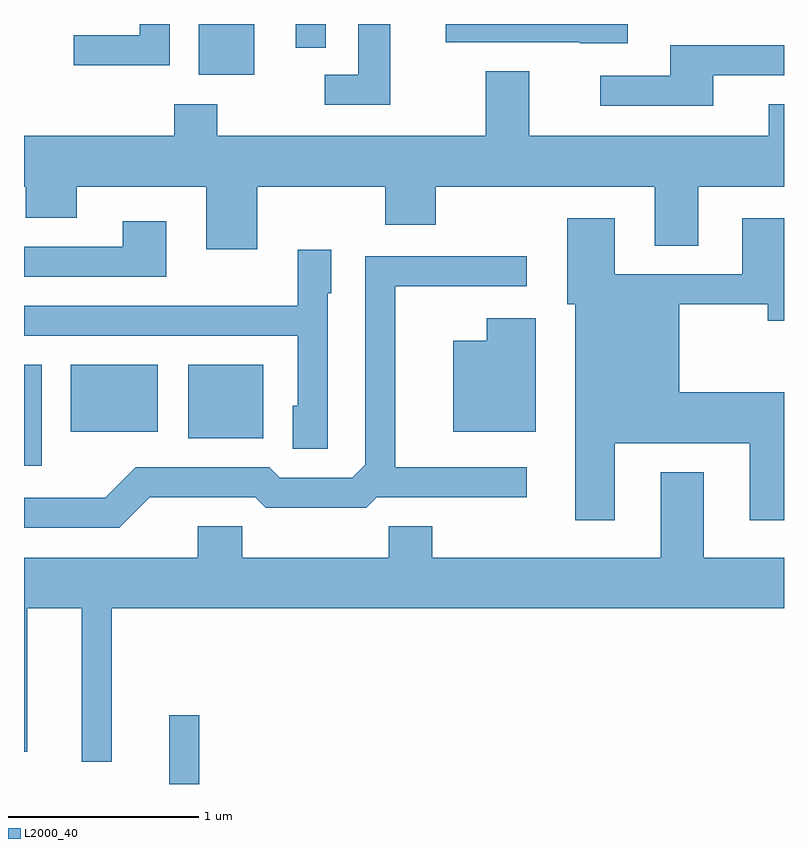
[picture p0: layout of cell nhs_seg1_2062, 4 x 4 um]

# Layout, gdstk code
import gdstk
lib = gdstk.Library(unit=1e-6, precision=1e-09)
def R(c, l, rs):  # rectangles x0, y0, x1, y1
    for r in rs: c.add(gdstk.rectangle(r[:2], r[2:], *l))
def P(c, l, *ps):  # polygons
    for p in ps: c.add(gdstk.Polygon(p, *l))
L2000_40 = (2000, 40)

nhs_seg1_2062 = lib.new_cell('nhs_seg1_2062')
R(nhs_seg1_2062, L2000_40, [(248.376,949.712,248.534,950.073), (247.611,951.388,247.704,951.919), (248.476,951.531,248.869,951.919), (247.856,951.566,248.314,951.919), (248.531,953.446,248.824,953.712), (249.041,953.588,249.199,953.712)])
P(nhs_seg1_2062, L2000_40, [(250.789,953.712),(249.831,953.712),(249.831,953.616),(250.535,953.616),(250.535,953.611),(250.789,953.611)],
  [(249.539,953.712),(249.371,953.712),(249.371,953.444),(249.193,953.444),(249.193,953.286),(249.539,953.286)],
  [(248.379,953.712),(248.221,953.712),(248.221,953.654),(247.873,953.654),(247.873,953.496),(248.379,953.496)],
  [(251.239,953.441),(251.611,953.441),(251.611,953.599),(251.011,953.599),(251.011,953.439),(250.643,953.439),(250.643,953.281),(251.239,953.281)],
  [(248.839,952.856),(249.511,952.856),(249.511,952.656),(249.779,952.656),(249.779,952.856),(250.931,952.856),(250.931,952.546),(251.159,952.546),(251.159,952.856),(251.611,952.856),(251.611,953.289),(251.531,953.289),(251.531,953.124),(250.269,953.124),(250.269,953.464),(250.041,953.464),(250.041,953.124),(248.629,953.124),(248.629,953.289),(248.401,953.289),(248.401,953.124),(247.611,953.124),(247.611,952.856),(247.621,952.856),(247.621,952.691),(247.889,952.691),(247.889,952.856),(248.571,952.856),(248.571,952.526),(248.839,952.526)],
  [(250.719,951.506),(251.431,951.506),(251.431,951.101),(251.611,951.101),(251.611,951.774),(251.059,951.774),(251.059,952.236),(251.526,952.236),(251.526,952.151),(251.611,952.151),(251.611,952.689),(251.391,952.689),(251.391,952.394),(250.719,952.394),(250.719,952.689),(250.471,952.689),(250.471,952.236),(250.511,952.236),(250.511,951.101),(250.719,951.101)],
  [(248.359,952.674),(248.131,952.674),(248.131,952.539),(247.611,952.539),(247.611,952.381),(248.359,952.381)],
  [(249.209,952.296),(249.229,952.296),(249.229,952.524),(249.051,952.524),(249.051,952.229),(247.611,952.229),(247.611,952.071),(249.051,952.071),(249.051,951.704),(249.026,951.704),(249.026,951.476),(249.209,951.476)],
  [(248.272,951.221),(248.829,951.221),(248.884,951.166),(249.412,951.166),(249.467,951.221),(250.258,951.221),(250.258,951.379),(249.564,951.379),(249.564,952.331),(250.258,952.331),(250.258,952.489),(249.406,952.489),(249.406,951.392),(249.339,951.324),(248.957,951.324),(248.902,951.379),(248.199,951.379),(248.039,951.219),(247.611,951.219),(247.611,951.061),(248.112,951.061)],
  [(250.304,952.164),(250.046,952.164),(250.046,952.044),(249.871,952.044),(249.871,951.566),(250.304,951.566)],
  [(248.074,950.636),(251.611,950.636),(251.611,950.904),(251.189,950.904),(251.189,951.354),(250.961,951.354),(250.961,950.904),(249.759,950.904),(249.759,951.069),(249.531,951.069),(249.531,950.904),(248.759,950.904),(248.759,951.069),(248.526,951.069),(248.526,950.904),(247.611,950.904),(247.611,949.881),(247.629,949.881),(247.629,950.636),(247.916,950.636),(247.916,949.828),(248.074,949.828)])

lib.write_gds('nhs_seg1_2062.gds')
